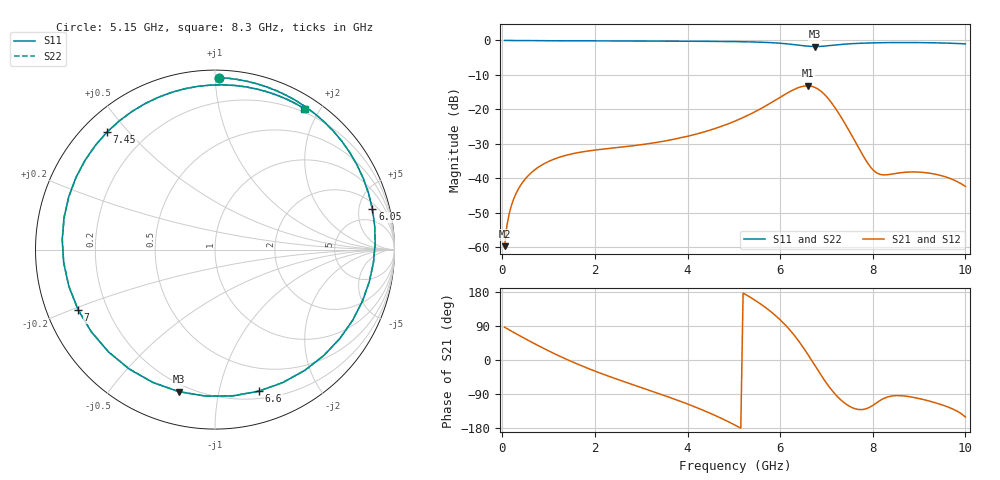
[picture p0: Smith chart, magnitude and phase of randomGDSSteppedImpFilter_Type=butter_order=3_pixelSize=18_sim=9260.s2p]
! freq	dB(S11)	phase(S11)	dB(S12)	phase(S12)
!  dB(S21)	phase(S21)	dB(S22)	phase(S22)
!S-par simulation data
#  GHz  S  DB  R 50
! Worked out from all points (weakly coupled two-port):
!   200 points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, 50 MHz to 10 GHz, reference 50 ohm
!   highest |S21| = -13.16 dB at 6.6 GHz (marker M1); lowest = -59.7 dB at 50 MHz (marker M2)
!   lowest |S11| = -1.8 dB at 6.75 GHz (marker M3), VSWR 9.92, Z = 8.04 - j38.3 ohm
!   |S11| at or under -10 dB: nowhere
!   |S22| runs from -1.8 to 0.0 dB; largest |S21 - S12| = 0
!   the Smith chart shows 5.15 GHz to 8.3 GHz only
!   S11 on the Smith chart (normalised r, x): 5.15 GHz: 0.04, +1.02; 6.05 GHz: 2.72, +6.83; 6.6 GHz: 0.27, -1.32; 7 GHz: 0.09, -0.21; 7.45 GHz: 0.07, +0.44; 8.3 GHz: 0.16, +1.81
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0.05  -0.00 -3.5  -59.65 86.4  -59.65 86.4  -0.00 -3.5
0.2  -0.02 -13.8  -47.71 76.0  -47.71 76.0  -0.02 -13.8
0.5  -0.05 -34.1  -40.09 55.8  -40.09 55.8  -0.05 -34.1
1.1  -0.09 -72.3  -34.51 18.1  -34.51 18.1  -0.09 -72.3
1.75  -0.12 -109.0  -32.26 -17.2  -32.26 -17.2  -0.12 -109.0
2.6  -0.15 -150.6  -30.88 -55.9  -30.88 -55.9  -0.15 -150.6
3.4  -0.18 173.8  -29.42 -89.4  -29.42 -89.4  -0.18 173.9
5.05  -0.34 94.5  -23.24 -173.4  -23.24 -173.4  -0.34 94.6
5.15  -0.37 88.6  -22.66 -180.0  -22.66 -180.0  -0.37 88.6
5.65  -0.54 53.5  -19.27 141.5  -19.27 141.5  -0.54 53.6
6.05  -0.86 14.4  -16.08 100.1  -16.08 100.1  -0.86 14.4
6.35  -1.29 -27.1  -13.91 58.2  -13.91 58.2  -1.29 -27.2
6.6  -1.66 -72.9  -13.16 14.3  -13.16 14.3  -1.67 -73.1
6.7  -1.74 -93.6  -13.37 -4.9  -13.37 -4.9  -1.75 -93.9
6.75  -1.76 -104.2  -13.62 -14.6  -13.62 -14.6  -1.76 -104.5
7  -1.58 -156.2  -16.27 -61.1  -16.27 -61.1  -1.59 -156.6
7.45  -1.02 132.7  -25.25 -118.6  -25.25 -118.6  -1.02 132.3
7.8  -0.78 96.0  -33.62 -130.4  -33.62 -130.4  -0.78 95.7
8.3  -0.63 57.7  -38.95 -98.4  -38.95 -98.4  -0.63 57.4
8.35  -0.62 54.4  -38.87 -96.5  -38.87 -96.5  -0.62 54.1
9.15  -0.65 8.2  -38.36 -106.1  -38.36 -106.1  -0.65 8.0
10  -1.00 -35.8  -42.32 -150.5  -42.32 -150.5  -0.99 -35.9
